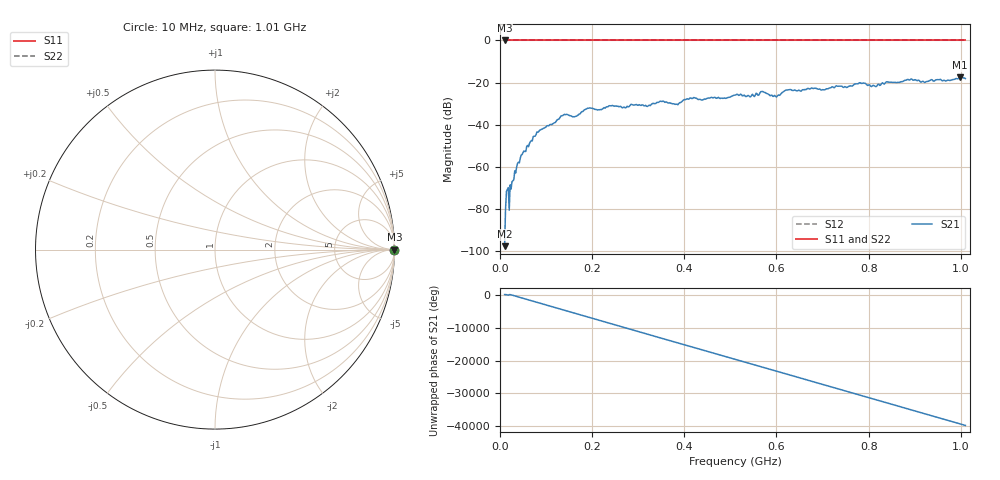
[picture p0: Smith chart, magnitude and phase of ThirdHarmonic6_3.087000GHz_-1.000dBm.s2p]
! 8/17/2025 9:04:12 AM
! C:\ANRITSUVNA\TEMP\TEMP.S2P
! CHANNEL.1
! TR.MEASUREMENT
! RAW.DATA
! RF.CORRECTION.OFF
! AVERAGING.OFF
! IF.BANDWIDTH: 5KHZ
! SWEEPTYPE:  FREQ.SWEEP(Linear)
! Reference Plane Port Info
! PORT:  PORT1  PORT2
! DISTANCE:  0  m  0  m
! TIME:  0  s  0  s
! PHASE.OFFSET:  0  deg.  0  deg.
! LOSS:  0  dB  0  dB
! REF.LOSS:  0  dB  0  dB
! REF.FREQ:  0  Hz  0  Hz
! Power Info
! POWER:  -20  dBm  -20  dBm
! EFF.POWER:  -20  dBm  -20  dBm
! SOURCE.ATTEN:  0  dB  0  dB
! TEST.ATTEN:  0  dB  0  dB
# GHZ S RI R 50.0
! FREQ.GHZ  S11RE  S11IM  S21RE  S21IM  S12RE  S12IM  S22RE  S22IM
!; PortSelection: Port_12
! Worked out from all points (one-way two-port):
!   501 points, 10 MHz to 1.01 GHz, reference 50 ohm
!   highest |S21| = -17.45 dB at 998 MHz (marker M1); lowest = -97.5 dB at 10 MHz (marker M2)
!   lowest |S11| = 0.0 dB at 10 MHz (marker M3)
!   |S11| at or under -10 dB: nowhere
!   |S22| runs from 0.0 to 0.0 dB; largest |S21 - S12| = 1.1
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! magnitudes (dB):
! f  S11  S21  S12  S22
! 10 MHz  0.0  -97.5  0.0  0.0
! 18 MHz  0.0  -69.7  0.0  0.0
! 24 MHz  0.0  -70.4  0.0  0.0
! 42 MHz  0.0  -58.0  0.0  0.0
! 76 MHz  0.0  -45.4  0.0  0.0
! 136 MHz  0.0  -35.6  0.0  0.0
! 162 MHz  0.0  -36.2  0.0  0.0
! 178 MHz  0.0  -33.7  0.0  0.0
! 194 MHz  0.0  -32.0  0.0  0.0
! 322 MHz  0.0  -30.9  0.0  0.0
! 344 MHz  0.0  -29.3  0.0  0.0
! 382 MHz  0.0  -30.2  0.0  0.0
! 416 MHz  0.0  -27.5  0.0  0.0
! 510 MHz  0.0  -25.9  0.0  0.0
! 570 MHz  0.0  -24.2  0.0  0.0
! 596 MHz  0.0  -26.0  0.0  0.0
! 622 MHz  0.0  -23.5  0.0  0.0
! 678 MHz  0.0  -22.7  0.0  0.0
! 814 MHz  0.0  -21.7  0.0  0.0
! 844 MHz  0.0  -19.8  0.0  0.0
! 998 MHz  0.0  -17.5  0.0  0.0
! 1.01 GHz  0.0  -18.1  0.0  0.0
